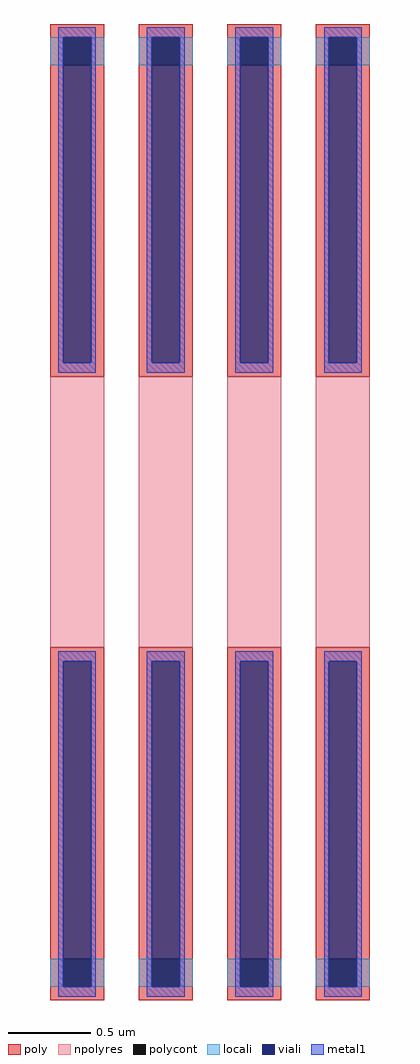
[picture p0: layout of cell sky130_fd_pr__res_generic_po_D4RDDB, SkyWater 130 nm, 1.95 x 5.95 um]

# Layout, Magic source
magic
tech sky130A
magscale 1 2
<< poly >>
rect -195 579 -129 595
rect -195 545 -179 579
rect -145 545 -129 579
rect -195 165 -129 545
rect -195 -545 -129 -165
rect -195 -579 -179 -545
rect -145 -579 -129 -545
rect -195 -595 -129 -579
rect -87 579 -21 595
rect -87 545 -71 579
rect -37 545 -21 579
rect -87 165 -21 545
rect -87 -545 -21 -165
rect -87 -579 -71 -545
rect -37 -579 -21 -545
rect -87 -595 -21 -579
rect 21 579 87 595
rect 21 545 37 579
rect 71 545 87 579
rect 21 165 87 545
rect 21 -545 87 -165
rect 21 -579 37 -545
rect 71 -579 87 -545
rect 21 -595 87 -579
rect 129 579 195 595
rect 129 545 145 579
rect 179 545 195 579
rect 129 165 195 545
rect 129 -545 195 -165
rect 129 -579 145 -545
rect 179 -579 195 -545
rect 129 -595 195 -579
<< polycont >>
rect -179 545 -145 579
rect -179 -579 -145 -545
rect -71 545 -37 579
rect -71 -579 -37 -545
rect 37 545 71 579
rect 37 -579 71 -545
rect 145 545 179 579
rect 145 -579 179 -545
<< npolyres >>
rect -195 -165 -129 165
rect -87 -165 -21 165
rect 21 -165 87 165
rect 129 -165 195 165
<< locali >>
rect -195 545 -179 579
rect -145 545 -129 579
rect -87 545 -71 579
rect -37 545 -21 579
rect 21 545 37 579
rect 71 545 87 579
rect 129 545 145 579
rect 179 545 195 579
rect -195 -579 -179 -545
rect -145 -579 -129 -545
rect -87 -579 -71 -545
rect -37 -579 -21 -545
rect 21 -579 37 -545
rect 71 -579 87 -545
rect 129 -579 145 -545
rect 179 -579 195 -545
<< viali >>
rect -179 545 -145 579
rect -71 545 -37 579
rect 37 545 71 579
rect 145 545 179 579
rect -179 182 -145 545
rect -71 182 -37 545
rect 37 182 71 545
rect 145 182 179 545
rect -179 -545 -145 -182
rect -71 -545 -37 -182
rect 37 -545 71 -182
rect 145 -545 179 -182
rect -179 -579 -145 -545
rect -71 -579 -37 -545
rect 37 -579 71 -545
rect 145 -579 179 -545
<< metal1 >>
rect -185 579 -139 591
rect -185 182 -179 579
rect -145 182 -139 579
rect -185 170 -139 182
rect -77 579 -31 591
rect -77 182 -71 579
rect -37 182 -31 579
rect -77 170 -31 182
rect 31 579 77 591
rect 31 182 37 579
rect 71 182 77 579
rect 31 170 77 182
rect 139 579 185 591
rect 139 182 145 579
rect 179 182 185 579
rect 139 170 185 182
rect -185 -182 -139 -170
rect -185 -579 -179 -182
rect -145 -579 -139 -182
rect -185 -591 -139 -579
rect -77 -182 -31 -170
rect -77 -579 -71 -182
rect -37 -579 -31 -182
rect -77 -591 -31 -579
rect 31 -182 77 -170
rect 31 -579 37 -182
rect 71 -579 77 -182
rect 31 -591 77 -579
rect 139 -182 185 -170
rect 139 -579 145 -182
rect 179 -579 185 -182
rect 139 -591 185 -579
<< properties >>
string gencell sky130_fd_pr__res_generic_po
string library sky130
string parameters w 0.330 l 1.650 m 1 nx 4 wmin 0.330 lmin 1.650 rho 48.2 val 241.0 dummy 0 dw 0.0 term 0.0 sterm 0.0 caplen 0.4 snake 0 guard 0 glc 1 grc 1 gtc 1 gbc 1 roverlap 0 endcov 100 full_metal 1 hv_guard 0 n_guard 0 vias 1 viagb 0 viagt 0 viagl 0 viagr 0
<< end >>
